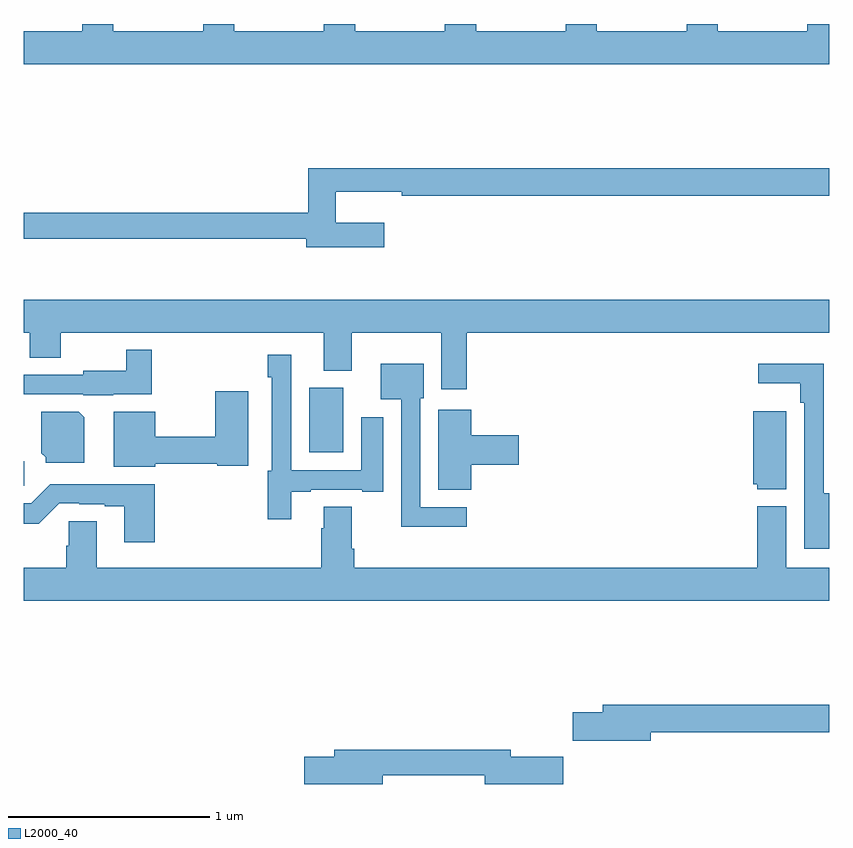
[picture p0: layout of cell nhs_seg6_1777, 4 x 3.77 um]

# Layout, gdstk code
import gdstk
lib = gdstk.Library(unit=1e-6, precision=1e-09)
def R(c, l, rs):  # rectangles x0, y0, x1, y1
    for r in rs: c.add(gdstk.rectangle(r[:2], r[2:], *l))
def P(c, l, *ps):  # polygons
    for p in ps: c.add(gdstk.Polygon(p, *l))
L2000_40 = (2000, 40)

nhs_seg6_1777 = lib.new_cell('nhs_seg6_1777')
R(nhs_seg6_1777, L2000_40, [(217,981.207,217.004,981.33), (218.417,981.374,218.587,981.694)])
P(nhs_seg6_1777, L2000_40, [(219.091,983.5),(219.091,983.464),(218.646,983.464),(218.646,983.5),(218.491,983.5),(218.491,983.464),(218.046,983.464),(218.046,983.5),(217.891,983.5),(217.891,983.464),(217.446,983.464),(217.446,983.5),(217.291,983.5),(217.291,983.464),(217,983.464),(217,983.3),(221,983.3),(221,983.5),(220.891,983.5),(220.891,983.464),(220.446,983.464),(220.446,983.5),(220.291,983.5),(220.291,983.464),(219.846,983.464),(219.846,983.5),(219.691,983.5),(219.691,983.464),(219.246,983.464),(219.246,983.5)],
  [(218.791,982.513),(218.549,982.513),(218.549,982.667),(218.878,982.667),(218.878,982.648),(221,982.648),(221,982.784),(218.413,982.784),(218.413,982.562),(217,982.562),(217,982.434),(218.402,982.434),(218.402,982.391),(218.791,982.391)],
  [(219.2,981.968),(221,981.968),(221,982.132),(217,982.132),(217,981.968),(217.03,981.968),(217.03,981.844),(217.185,981.844),(217.185,981.968),(218.489,981.968),(218.489,981.779),(218.629,981.779),(218.629,981.968),(219.074,981.968),(219.074,981.687),(219.2,981.687)],
  [(217.446,981.662),(217.637,981.662),(217.637,981.883),(217.509,981.883),(217.509,981.778),(217.296,981.778),(217.296,981.759),(217,981.759),(217,981.663),(217.296,981.663),(217.296,981.656),(217.446,981.656)],
  [(218.329,981.177),(218.425,981.177),(218.425,981.189),(218.681,981.189),(218.681,981.177),(218.785,981.177),(218.785,981.547),(218.675,981.547),(218.675,981.285),(218.328,981.285),(218.328,981.859),(218.212,981.859),(218.212,981.746),(218.232,981.746),(218.232,981.282),(218.212,981.282),(218.212,981.042),(218.329,981.042)],
  [(219.199,981.102),(218.97,981.102),(218.97,981.642),(218.986,981.642),(218.986,981.814),(218.774,981.814),(218.774,981.638),(218.874,981.638),(218.874,981.005),(219.199,981.005)],
  [(221,981.171),(220.971,981.171),(220.971,981.814),(220.647,981.814),(220.647,981.716),(220.855,981.716),(220.855,981.62),(220.875,981.62),(220.875,980.894),(221,980.894)],
  [(217.654,981.316),(217.962,981.316),(217.962,981.308),(218.116,981.308),(218.116,981.676),(217.951,981.676),(217.951,981.452),(217.654,981.452),(217.654,981.574),(217.448,981.574),(217.448,981.302),(217.654,981.302)],
  [(219.221,981.311),(219.457,981.311),(219.457,981.458),(219.221,981.458),(219.221,981.586),(219.059,981.586),(219.059,981.187),(219.221,981.187)],
  [(220.786,981.577),(220.622,981.577),(220.622,981.216),(220.641,981.216),(220.641,981.191),(220.786,981.191)],
  [(217.3,981.548),(217.274,981.574),(217.088,981.574),(217.088,981.37),(217.11,981.348),(217.11,981.323),(217.3,981.323)],
  [(217.652,981.214),(217.132,981.214),(217.038,981.12),(217,981.12),(217,981.018),(217.074,981.018),(217.176,981.12),(217.276,981.12),(217.276,981.117),(217.403,981.117),(217.403,981.105),(217.499,981.105),(217.499,980.928),(217.652,980.928)],
  [(221,980.8),(220.786,980.8),(220.786,981.106),(220.643,981.106),(220.643,980.8),(218.642,980.8),(218.642,980.896),(218.629,980.896),(218.629,981.104),(218.489,981.104),(218.489,980.996),(218.477,980.996),(218.477,980.8),(217.363,980.8),(217.363,981.032),(217.224,981.032),(217.224,980.91),(217.211,980.91),(217.211,980.8),(217,980.8),(217,980.636),(221,980.636)],
  [(220.114,979.984),(221,979.984),(221,980.12),(219.875,980.12),(219.875,980.084),(219.726,980.084),(219.726,979.942),(220.114,979.942)],
  [(218.782,979.77),(219.29,979.77),(219.29,979.727),(219.679,979.727),(219.679,979.862),(219.418,979.862),(219.418,979.898),(218.543,979.898),(218.543,979.862),(218.394,979.862),(218.394,979.727),(218.782,979.727)])

lib.write_gds('nhs_seg6_1777.gds')
